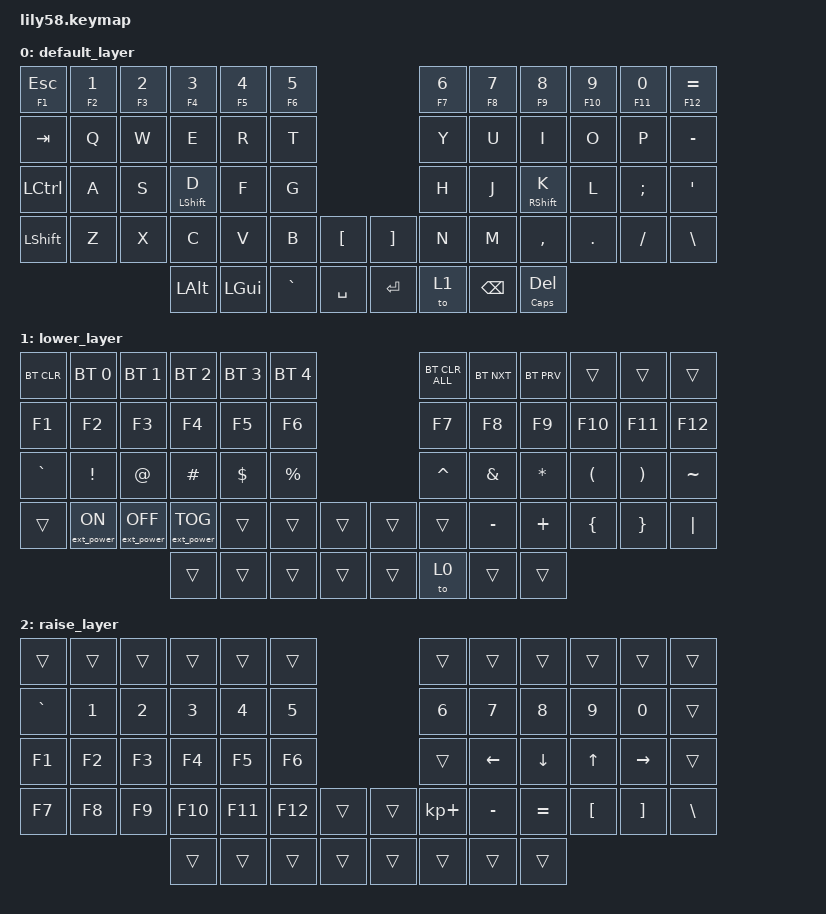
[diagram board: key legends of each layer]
/*
 * Copyright (c) 2020 The ZMK Contributors
 *
 * SPDX-License-Identifier: MIT
 */

#include <behaviors.dtsi>
#include <dt-bindings/zmk/bt.h>
#include <dt-bindings/zmk/ext_power.h>
#include <dt-bindings/zmk/keys.h>

/ {
    combos {
        compatible = "zmk,combos";

        combo_esc {
            timeout-ms = <50>;
            key-positions = <0 1>;
            bindings = <&kp ESC>;
        };
    };

    behaviors {
        ss_hs_modmorph: ss_hs_modmorph {
            compatible = "zmk,behavior-mod-morph";
            label = "SS_HS_MODMORPH";
            bindings = <&kp M>, <&kp RIGHT_BRACKET>;

            #binding-cells = <0>;
            mods = <(MOD_LSFT|MOD_RSFT)>;
        };

        kh_hs_tapdance: kh_hs_tapdance {
            compatible = "zmk,behavior-tap-dance";
            label = "KH_HS_TAPDANCE";
            #binding-cells = <0>;
            tapping-term-ms = <200>;
            bindings = <&kp LEFT_BRACKET>, <&kp RIGHT_BRACKET>;
        };

        hrm: hrm {
            compatible = "zmk,behavior-hold-tap";
            #binding-cells = <2>;
            flavor = "tap-preferred";
            tapping-term-ms = <250>;
            quick-tap-ms = <200>;
            require-prior-idle-ms = <250>;
            bindings = <&kp>, <&kp>;
        };
    };

    keymap {
        compatible = "zmk,keymap";

        default_layer {
            // ------------------------------------------------------------------------------------------------------------
            // |  ESC  |  1  |  2  |  3   |  4   |  5   |                   |  6   |  7    |  8    |  9   |   0   |   `   |
            // |  TAB  |  Q  |  W  |  E   |  R   |  T   |                   |  Y   |  U    |  I    |  O   |   P   |   -   |
            // |  CTRL |  A  |  S  |  D   |  F   |  G   |                   |  H   |  J    |  K    |  L   |   ;   |   '   |
            // | SHIFT |  Z  |  X  |  C   |  V   |  B   |   "["  |  |  "]"  |  N   |  M    |  ,    |  .   |   /   | SHIFT |
            //                     | ALT  | GUI  | LOWER|  SPACE |  | ENTER | RAISE| BSPC  | GUI   |

            bindings = <
&hrm F1 ESC     &hrm F2 N1  &hrm F3 N2  &hrm F4 N3         &hrm F5 N4  &hrm F6 N5                         &hrm F7 N6  &hrm F8 N7  &hrm F9 N8          &hrm F10 N9  &hrm F11 N0  &hrm F12 EQUAL
&kp TAB         &kp Q       &kp W       &kp E              &kp R       &kp T                              &kp Y       &kp U       &kp I               &kp O        &kp P        &kp MINUS
&kp LCTRL       &kp A       &kp S       &hrm LEFT_SHIFT D  &kp F       &kp G                              &kp H       &kp J       &hrm RIGHT_SHIFT K  &kp L        &kp SEMI     &kp SQT
&kp LEFT_SHIFT  &kp Z       &kp X       &kp C              &kp V       &kp B       &kp LBKT     &kp RBKT  &kp N       &kp M       &kp COMMA           &kp DOT      &kp FSLH     &kp BACKSLASH
                                        &kp LALT           &kp LGUI    &kp GRAVE   &kp SPACE    &kp RET   &to 1       &kp BSPC    &hrm CAPS DEL
            >;
        };

        lower_layer {
            // ------------------------------------------------------------------------------------------------------------
            // | BTCLR | BT1 | BT2 |  BT3 |  BT4 |  BT5 |                   |      |       |       |      |       |       |
            // |  F1   |  F2 |  F3 |  F4  |  F5  |  F6  |                   |  F7  |  F8   |  F9   |  F10 |  F11  |  F12  |
            // |   `   |  !  |  @  |  #   |  $   |  %   |                   |  ^   |  &    |  *    |  (   |   )   |   ~   |
            // |       |     |     |      |      |      |        |  |       |      |  _    |  +    |  {   |   }   |  "|"  |
            //                     |      |      |      |        |  |       |      |       |       |

            bindings = <
&bt BT_CLR  &bt BT_SEL 0      &bt BT_SEL 1       &bt BT_SEL 2       &bt BT_SEL 3  &bt BT_SEL 4                    &bt BT_CLR_ALL  &bt BT_NXT  &bt BT_PRV  &trans    &trans    &trans
&kp F1      &kp F2            &kp F3             &kp F4             &kp F5        &kp F6                          &kp F7          &kp F8      &kp F9      &kp F10   &kp F11   &kp F12
&kp GRAVE   &kp EXCL          &kp AT             &kp HASH           &kp DOLLAR    &kp PRCNT                       &kp CARET       &kp AMPS    &kp ASTRK   &kp LPAR  &kp RPAR  &kp TILDE
&trans      &ext_power EP_ON  &ext_power EP_OFF  &ext_power EP_TOG  &trans        &trans        &trans    &trans  &trans          &kp MINUS   &kp PLUS    &kp LBRC  &kp RBRC  &kp PIPE
                                                 &trans             &trans        &trans        &trans    &trans  &to 0           &trans      &trans
            >;
        };

        raise_layer {
            // ------------------------------------------------------------------------------------------------------------
            // |       |     |     |      |      |      |                   |      |       |       |      |       |       |
            // |   `   |  1  |  2  |  3   |  4   |  5   |                   |  6   |   7   |   8   |  9   |   0   |       |
            // |   F1  |  F2 |  F3 |  F4  |  F5  |  F6  |                   |      |   <-  |   v   |  ^   |  ->   |       |
            // |   F7  |  F8 |  F9 |  F10 |  F11 |  F12 |        |  |       |  +   |   -   |   =   |  [   |   ]   |   \   |
            //                     |      |      |      |        |  |       |      |       |       |

            bindings = <
&trans     &trans  &trans  &trans   &trans   &trans                     &trans       &trans     &trans     &trans    &trans     &trans
&kp GRAVE  &kp N1  &kp N2  &kp N3   &kp N4   &kp N5                     &kp N6       &kp N7     &kp N8     &kp N9    &kp N0     &trans
&kp F1     &kp F2  &kp F3  &kp F4   &kp F5   &kp F6                     &trans       &kp LEFT   &kp DOWN   &kp UP    &kp RIGHT  &trans
&kp F7     &kp F8  &kp F9  &kp F10  &kp F11  &kp F12  &trans    &trans  &kp KP_PLUS  &kp MINUS  &kp EQUAL  &kp LBKT  &kp RBKT   &kp BSLH
                           &trans   &trans   &trans   &trans    &trans  &trans       &trans     &trans
            >;
        };
    };
};
